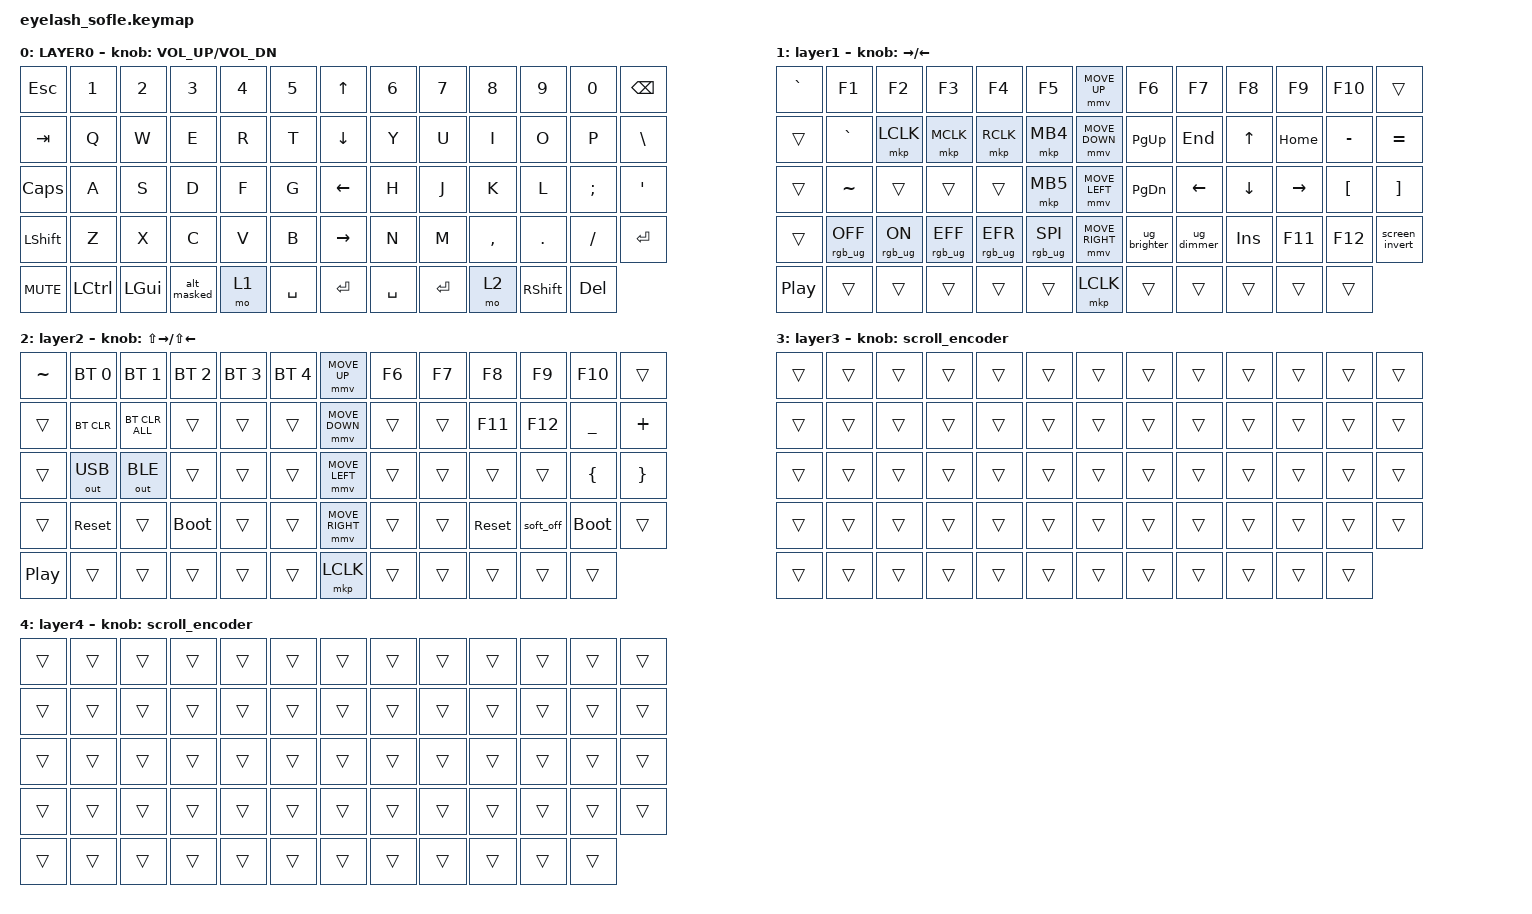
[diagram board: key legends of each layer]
#define ZMK_POINTING_DEFAULT_MOVE_VAL 1200  // 600
#define ZMK_POINTING_DEFAULT_SCRL_VAL 25   // 10

// Keep every built-in behavior in both halves' firmware, not just the ones this file uses.
// Otherwise a behavior assigned only in ZMK Studio (e.g. Backlight) is missing from the right
// half, so it ignores it when the left half forwards it.
#define ZMK_BEHAVIORS_KEEP_ALL

#include <input/processors.dtsi>
#include <zephyr/dt-bindings/input/input-event-codes.h>
#include <behaviors.dtsi>
#include <dt-bindings/zmk/bt.h>
#include <dt-bindings/zmk/keys.h>
#include <dt-bindings/zmk/outputs.h>
#include <dt-bindings/zmk/pointing.h>
#include <dt-bindings/zmk/rgb.h>

// Remove the board's spare USB serial port (only used for debug logging, which is off),
// so ZMK Studio lists a single USB port: its own, from the studio-rpc-usb-uart snippet.
/delete-node/ &cdc_acm_uart;

&mmv_input_listener { input-processors = <&zip_xy_scaler 2 1>; };

&msc_input_listener { input-processors = <&zip_scroll_scaler 2 1>; };

&msc {
    acceleration-exponent = <1>;      // 0
    time-to-max-speed-ms = <100>;       // 300
    delay-ms = <0>;                   // 0
};

&mmv {
    time-to-max-speed-ms = <500>;
    acceleration-exponent = <1>;
    trigger-period-ms = <16>;
};

&soft_off { hold-time-ms = <2000>; };

/ {
    // Knob: one action per encoder tick (the board default was one per 2 ticks). With 2 ticks
    // per detent the old setting could leave a 1-tick remainder, so the first click after
    // reversing only cancelled it and did nothing. Now nothing is left over; each click sends
    // 2 actions (e.g. 2 volume steps = 4% on Windows).
    sensors {
        triggers-per-rotation = <40>;
    };

    scroll_encoder: scroll_encoder {
        compatible = "zmk,behavior-sensor-rotate";
        #sensor-binding-cells = <0>;
        bindings = <&msc SCRL_DOWN>, <&msc SCRL_UP>;

        tap-ms = <100>;
    };

    behaviors {
        // Behaviors that run on both halves (screen, underglow) need node names of at most
        // 8 characters: that's all the split link carries when the left half triggers them.

        // Underglow brightness in finer steps at the low end (the layer LEDs follow it)
        ug_brighter: ug_bri_u {
            compatible = "zmk,behavior-underglow-dim-step";
            #binding-cells = <0>;
            display-name = "Custom: Underglow brighter";
            brighter;
        };

        // Flip both screens between black-on-white and white-on-black (remembered)
        screen_invert: scr_inv {
            compatible = "zmk,behavior-display-invert";
            #binding-cells = <0>;
            display-name = "Custom: Screen invert";
        };

        // Show/hide the battery percentage on both screens (remembered)
        battery_pct: bat_pct {
            compatible = "zmk,behavior-battery-pct";
            #binding-cells = <0>;
            display-name = "Custom: Battery %";
        };

        // Show the firmware version (build commit) instead of the bottom labels, both screens
        version_toggle: fw_ver {
            compatible = "zmk,behavior-version-toggle";
            #binding-cells = <0>;
            display-name = "Custom: Version";
        };

        ug_dimmer: ug_bri_d {
            compatible = "zmk,behavior-underglow-dim-step";
            #binding-cells = <0>;
            display-name = "Custom: Underglow dimmer";
        };

        // Hold for layer 1; hold together with Shift for layer 2
        layer_1_shift_2: layer_1_shift_2 {
            compatible = "zmk,behavior-mod-morph";
            #binding-cells = <0>;
            display-name = "Custom: Layer 1 / Shift: 2";
            bindings = <&mo 1>, <&mo 2>;
            mods = <(MOD_LSFT|MOD_RSFT)>;
        };

        // Hold for the layer while held; tap to switch it on until tapped again.
        // Usage: &hold_tog <layer> <layer>; ZMK Studio shows a layer picker for each.
        hold_tog: hold_tog {
            compatible = "zmk,behavior-hold-tap";
            #binding-cells = <2>;
            display-name = "Custom: Layer hold / tap toggle";
            flavor = "hold-preferred";
            tapping-term-ms = <200>;
            bindings = <&mo>, <&tog>;
        };

        // Same, for layer 1; with Shift held it does the same for layer 2
        hold_tog_1_shift_2: hold_tog_1_shift_2 {
            compatible = "zmk,behavior-mod-morph";
            #binding-cells = <0>;
            display-name = "Custom: Layer 1 / Shift: 2 (tap toggles)";
            bindings = <&hold_tog 1 1>, <&hold_tog 2 2>;
            mods = <(MOD_LSFT|MOD_RSFT)>;
        };
    };

    combos {
        compatible = "zmk,combos";

        softoff {
            bindings = <&soft_off>;
            key-positions = <14 28 40>;
        };
    };

    macros {
        SHIFT_MCLK: SHIFT_MCLK {
            compatible = "zmk,behavior-macro";
            #binding-cells = <0>;
            bindings =
                <&macro_press>,
                <&kp LEFT_SHIFT>,
                <&macro_press>,
                <&mkp MB3>,
                <&macro_pause_for_release>,
                <&macro_release>,
                <&kp LEFT_SHIFT &mkp MB3>;

            label = "SHIFT_MCLK";
            display-name = "Custom: Shift + middle click";
        };

        // Types "00" (two zeros from the number row; works whatever Num Lock is set to)
        double_zero: double_zero {
            compatible = "zmk,behavior-macro";
            #binding-cells = <0>;
            display-name = "Custom: 00";
            bindings = <&macro_tap &kp N0 &kp N0>;
        };

        // Media control on Device 3 while working on Device 2: switch to Device 3, wait for it
        // to connect, send the media key, switch back to Device 2. Typing during it does not
        // reach Device 2. Raise the first wait (1000 ms) if a press gets lost because Device 3
        // was slow to connect. Each device switch is saved to flash ~60 s later (stock ZMK).
        next_on_dev3: next_on_dev3 {
            compatible = "zmk,behavior-macro";
            #binding-cells = <0>;
            display-name = "Custom: Next track on Device 3";
            bindings
                = <&macro_wait_time 1500>
                , <&macro_tap &bt BT_SEL 2>
                , <&macro_wait_time 300>
                , <&macro_tap &kp C_NEXT>
                , <&macro_tap &bt BT_SEL 1>
                ;
        };

        prev_on_dev3: prev_on_dev3 {
            compatible = "zmk,behavior-macro";
            #binding-cells = <0>;
            display-name = "Custom: Previous track on Device 3";
            bindings
                = <&macro_wait_time 1500>
                , <&macro_tap &bt BT_SEL 2>
                , <&macro_wait_time 300>
                , <&macro_tap &kp C_PREV>
                , <&macro_tap &bt BT_SEL 1>
                ;
        };

        pp_on_dev3: pp_on_dev3 {
            compatible = "zmk,behavior-macro";
            #binding-cells = <0>;
            display-name = "Custom: Play/Pause on Device 3";
            bindings
                = <&macro_wait_time 1500>
                , <&macro_tap &bt BT_SEL 2>
                , <&macro_wait_time 300>
                , <&macro_tap &kp C_PP>
                , <&macro_tap &bt BT_SEL 1>
                ;
        };

        // Esc normally, "`" with Shift (Shift is released for it, so "`" and not "~")
        esc_grave: esc_grave {
            compatible = "zmk,behavior-mod-morph";
            #binding-cells = <0>;
            display-name = "Custom: Esc / Shift: `";
            bindings = <&kp ESC>, <&kp GRAVE>;
            mods = <(MOD_LSFT|MOD_RSFT)>;
        };

        // "_" normally, "." with Shift (Shift is released for it, so "." and not ">")
        under_dot: under_dot {
            compatible = "zmk,behavior-mod-morph";
            #binding-cells = <0>;
            display-name = "Custom: _ / Shift: .";
            bindings = <&kp UNDER>, <&kp DOT>;
            mods = <(MOD_LSFT|MOD_RSFT)>;
        };

        // Left Alt that never activates Windows' menu bar on its own. Windows does that only
        // when Alt goes down and up with nothing in between, so an unused key (F24) is tapped
        // just before Alt is released. Alt + key and Alt + mouse work as normal.
        alt_masked: alt_masked {
            compatible = "zmk,behavior-macro";
            #binding-cells = <0>;
            display-name = "Custom: Alt (no menu on its own)";
            wait-ms = <0>;
            tap-ms = <5>;
            bindings
                = <&macro_press &kp LALT>
                , <&macro_pause_for_release>
                , <&macro_tap &kp F24>
                , <&macro_release &kp LALT>
                ;
        };

        // Revit formulas: jump to the start of the field and type "="
        home_eq_macro: home_eq_macro {
            compatible = "zmk,behavior-macro";
            #binding-cells = <0>;
            display-name = "Custom: Home = Enter (macro only)";
            bindings = <&macro_tap &kp HOME &kp EQUAL &kp ENTER>;
        };

        // The "Home =" key: Home, "=", Enter normally; with Shift held just "=" (Shift is
        // released for it, so it types "=", not "+"). Keeps the node name home_equal so
        // keys assigned to it in ZMK Studio pick this up.
        home_equal: home_equal {
            compatible = "zmk,behavior-mod-morph";
            #binding-cells = <0>;
            display-name = "Custom: Home = Enter / Shift: =";
            bindings = <&home_eq_macro>, <&kp EQUAL>;
            mods = <(MOD_LSFT|MOD_RSFT)>;
        };
    };

    keymap {
        compatible = "zmk,keymap";

        layer0 {
            bindings = <
&kp ESC     &kp N1     &kp N2        &kp N3        &kp N4  &kp N5       &kp UP_ARROW     &kp N6     &kp N7     &kp N8     &kp N9           &kp N0      &kp BACKSPACE
&kp TAB     &kp Q      &kp W         &kp E         &kp R   &kp T        &kp DOWN_ARROW   &kp Y      &kp U      &kp I      &kp O            &kp P       &kp BSLH
&kp CAPS    &kp A      &kp S         &kp D         &kp F   &kp G        &kp LEFT_ARROW   &kp H      &kp J      &kp K      &kp L            &kp SEMI    &kp APOS
&kp LSHFT   &kp Z      &kp X         &kp C         &kp V   &kp B        &kp RIGHT_ARROW  &kp N      &kp M      &kp COMMA  &kp DOT          &kp FSLH    &kp ENTER
&kp C_MUTE  &kp LCTRL  &kp LEFT_GUI  &alt_masked  &mo 1   &kp SPACE    &kp ENTER        &kp SPACE  &kp ENTER  &mo 2      &kp RIGHT_SHIFT  &kp DELETE
            >;

            sensor-bindings = <&inc_dec_kp C_VOLUME_UP C_VOL_DN>;
            display-name = "LAYER0";
        };

        layer_1 {
            bindings = <
&kp GRAVE   &kp F1           &kp F2          &kp F3           &kp F4           &kp F5             &mmv MOVE_UP     &kp F6           &kp F7           &kp F8      &kp F9     &kp F10           &trans
&trans      &kp GRAVE        &mkp LCLK       &mkp MCLK        &mkp RCLK        &mkp MB4           &mmv MOVE_DOWN   &kp PG_UP        &kp END          &kp UP      &kp HOME   &kp MINUS         &kp EQUAL
&trans      &kp TILDE        &trans          &trans           &trans           &mkp MB5           &mmv MOVE_LEFT   &kp PG_DN        &kp LEFT         &kp DOWN    &kp RIGHT  &kp LEFT_BRACKET  &kp RIGHT_BRACKET
&trans      &rgb_ug RGB_OFF  &rgb_ug RGB_ON  &rgb_ug RGB_EFF  &rgb_ug RGB_EFR  &rgb_ug RGB_SPI    &mmv MOVE_RIGHT  &ug_brighter     &ug_dimmer  &kp INSERT  &kp F11    &kp F12           &screen_invert
&kp C_PP    &trans           &trans          &trans           &trans           &trans             &mkp LCLK        &trans           &trans           &trans      &trans     &trans
            >;

            display-name = "layer1";

            // Seek in players that use plain arrows (Jellyfin, YouTube, mpv, MPC-HC)
            sensor-bindings = <&inc_dec_kp RIGHT LEFT>;
        };

        layer_2 {
            bindings = <
&kp TILDE  &bt BT_SEL 0  &bt BT_SEL 1    &bt BT_SEL 2  &bt BT_SEL 3  &bt BT_SEL 4    &mmv MOVE_UP     &kp F6  &kp F7  &kp F8      &kp F9     &kp F10      &trans
&trans     &bt BT_CLR    &bt BT_CLR_ALL  &trans        &trans        &trans          &mmv MOVE_DOWN   &trans  &trans  &kp F11     &kp F12    &kp UNDER    &kp PLUS
&trans     &out OUT_USB  &out OUT_BLE    &trans        &trans        &trans          &mmv MOVE_LEFT   &trans  &trans  &trans      &trans     &kp LBRC     &kp RBRC
&trans     &sys_reset    &trans          &bootloader   &trans        &trans          &mmv MOVE_RIGHT  &trans  &trans  &sys_reset  &soft_off  &bootloader  &trans
&kp C_PP   &trans        &trans          &trans        &trans        &trans          &mkp LCLK        &trans  &trans  &trans      &trans     &trans
            >;

            display-name = "layer2";

            // Seek in VLC (Shift+arrow = 5 seconds)
            sensor-bindings = <&inc_dec_kp LS(RIGHT) LS(LEFT)>;
        };

        layer_3 {
            bindings = <
&trans  &trans  &trans  &trans  &trans  &trans    &trans  &trans  &trans  &trans  &trans  &trans  &trans
&trans  &trans  &trans  &trans  &trans  &trans    &trans  &trans  &trans  &trans  &trans  &trans  &trans
&trans  &trans  &trans  &trans  &trans  &trans    &trans  &trans  &trans  &trans  &trans  &trans  &trans
&trans  &trans  &trans  &trans  &trans  &trans    &trans  &trans  &trans  &trans  &trans  &trans  &trans
&trans  &trans  &trans  &trans  &trans  &trans    &trans  &trans  &trans  &trans  &trans  &trans
            >;

            display-name = "layer3";
            sensor-bindings = <&scroll_encoder>;
        };

        layer_4 {
            bindings = <
&trans  &trans  &trans  &trans  &trans  &trans    &trans  &trans  &trans  &trans  &trans  &trans  &trans
&trans  &trans  &trans  &trans  &trans  &trans    &trans  &trans  &trans  &trans  &trans  &trans  &trans
&trans  &trans  &trans  &trans  &trans  &trans    &trans  &trans  &trans  &trans  &trans  &trans  &trans
&trans  &trans  &trans  &trans  &trans  &trans    &trans  &trans  &trans  &trans  &trans  &trans  &trans
&trans  &trans  &trans  &trans  &trans  &trans    &trans  &trans  &trans  &trans  &trans  &trans
            >;

            display-name = "layer4";
            sensor-bindings = <&scroll_encoder>;
        };
    };
};
